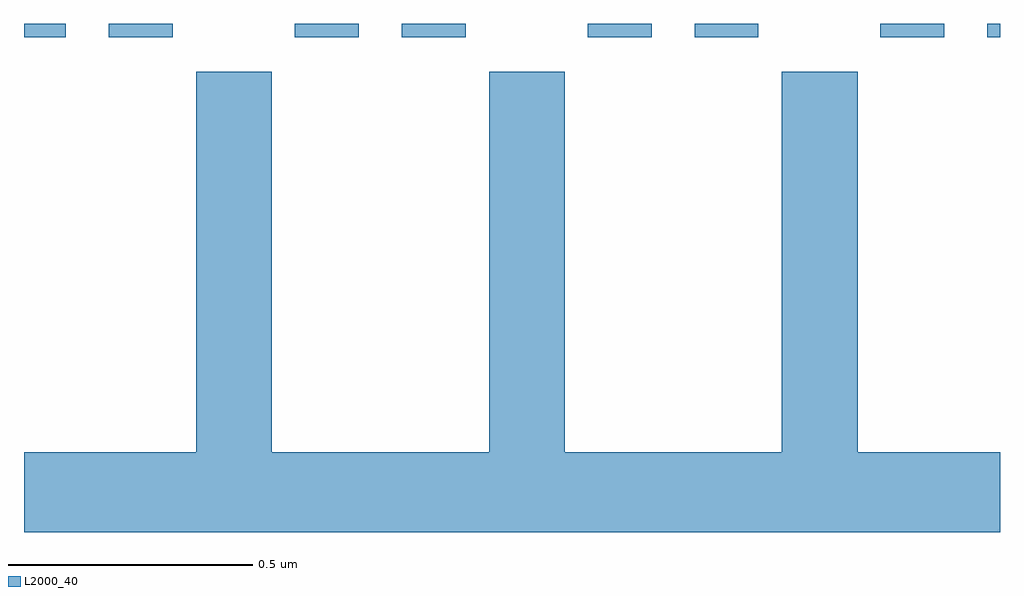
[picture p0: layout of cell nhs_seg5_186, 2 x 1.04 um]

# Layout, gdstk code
import gdstk
lib = gdstk.Library(unit=1e-6, precision=1e-09)
def R(c, l, rs):  # rectangles x0, y0, x1, y1
    for r in rs: c.add(gdstk.rectangle(r[:2], r[2:], *l))
def P(c, l, *ps):  # polygons
    for p in ps: c.add(gdstk.Polygon(p, *l))
L2000_40 = (2000, 40)

nhs_seg5_186 = lib.new_cell('nhs_seg5_186')
R(nhs_seg5_186, L2000_40, [(113,861.771,113.086,861.799), (113.174,861.771,113.305,861.799), (113.555,861.771,113.686,861.799), (113.774,861.771,113.905,861.799), (114.155,861.771,114.286,861.799), (114.374,861.771,114.505,861.799), (114.755,861.771,114.886,861.799), (114.974,861.771,115,861.799)])
P(nhs_seg5_186, L2000_40, [(115,860.92),(114.708,860.92),(114.708,861.7),(114.553,861.7),(114.553,860.92),(114.108,860.92),(114.108,861.7),(113.953,861.7),(113.953,860.92),(113.508,860.92),(113.508,861.7),(113.353,861.7),(113.353,860.92),(113,860.92),(113,860.756),(115,860.756)])

lib.write_gds('nhs_seg5_186.gds')
